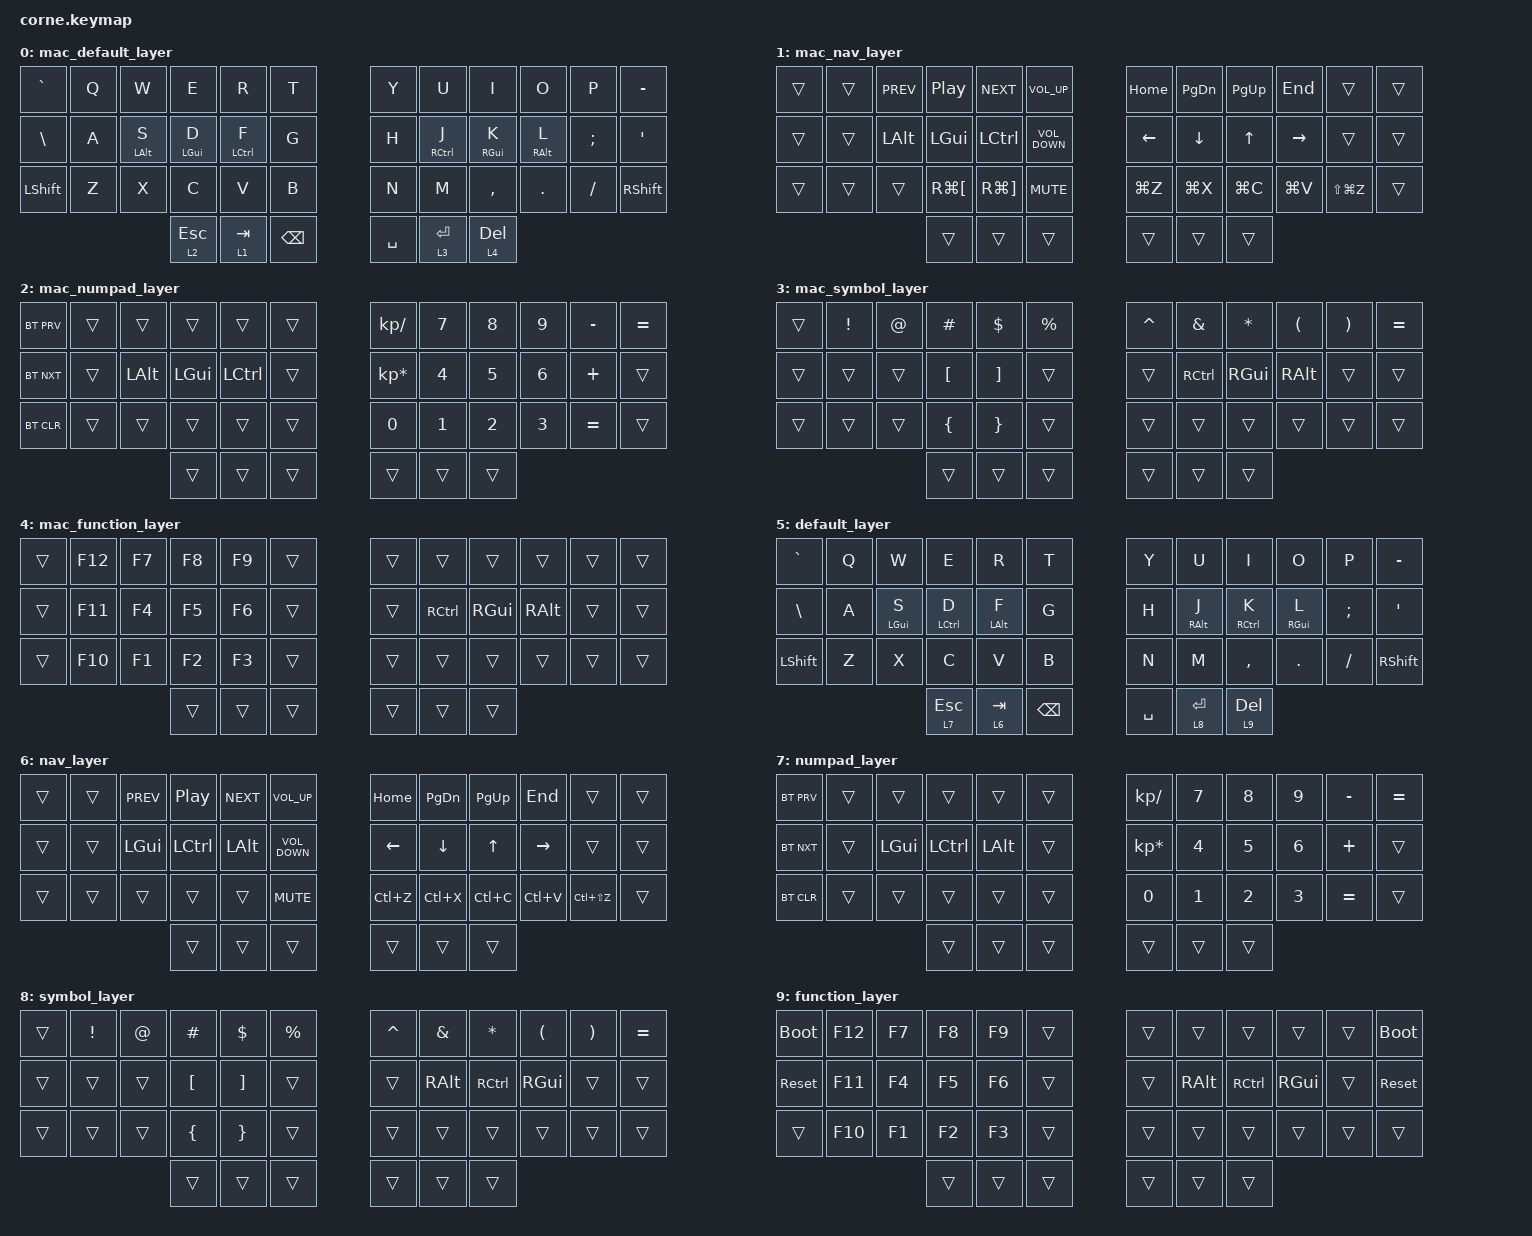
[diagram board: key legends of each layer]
/*
 * Copyright (c) 2020 The ZMK Contributors
 *
 * SPDX-License-Identifier: MIT
 */

#include <behaviors.dtsi>
#include <dt-bindings/zmk/bt.h>
#include <dt-bindings/zmk/keys.h>

/ {
    behaviors {
        hml: homewrow_mods_left {
            compatible = "zmk,behavior-hold-tap";
            label = "HOMEROW_MODS_LEFT_HAND";
            bindings = <&kp>, <&kp>;

            #binding-cells = <2>;
            tapping-term-ms = <280>;
            hold-trigger-key-positions = <10 6 18 39 30 40 41 19 31 7 9 10 19 20 21 22 6 7 8 9 10 11 18 19 20 21 22 23 30 31 32 33 34 35 40 41 37>;
            flavor = "balanced";
            require-prior-idle-ms = <130>;
            quick-tap-ms = <175>;
            hold-trigger-on-release;
        };

        hmr: homewrow_mods_right {
            compatible = "zmk,behavior-hold-tap";
            label = "HOMEROW_MODS_RIGHT_HAND";
            bindings = <&kp>, <&kp>;

            #binding-cells = <2>;
            tapping-term-ms = <280>;
            hold-trigger-key-positions = <0 1 2 3 4 5 12 13 14 15 16 17 24 25 26 27 28 29 36 37 38>;
            quick-tap-ms = <175>;
            require-prior-idle-ms = <130>;
            flavor = "balanced";
            hold-trigger-on-release;
        };
    };

    combos {
        compatible = "zmk,combos";

        to_mac_layer {
            bindings = <&to 0>;
            key-positions = <36 40>;
        };

        to_windows_layer {
            bindings = <&to 5>;
            key-positions = <37 41>;
        };

        Capslock {
            bindings = <&kp CAPSLOCK>;
            key-positions = <24 35>;
            layers = <0 5>;
        };
    };

    keymap {
        compatible = "zmk,keymap";

        mac_default_layer {
            bindings = <
&kp GRAVE  &kp Q  &kp W            &kp E            &kp R                &kp T            &kp Y      &kp U                 &kp I             &kp O             &kp P     &kp MINUS
&kp BSLH   &kp A  &hml LEFT_ALT S  &hml LEFT_GUI D  &hml LEFT_CONTROL F  &kp G            &kp H      &hmr RIGHT_CONTROL J  &hmr RIGHT_GUI K  &hmr RIGHT_ALT L  &kp SEMI  &kp SQT
&kp LSHFT  &kp Z  &kp X            &kp C            &kp V                &kp B            &kp N      &kp M                 &kp COMMA         &kp DOT           &kp FSLH  &kp RSHIFT
                                   &lt 2 ESC        &lt 1 TAB            &kp BACKSPACE    &kp SPACE  &lt 3 ENTER           &lt 4 DELETE
            >;
        };

        mac_nav_layer {
            bindings = <
&trans  &trans  &kp C_PREV    &kp C_PLAY_PAUSE      &kp C_NEXT             &kp C_VOLUME_UP      &kp HOME        &kp PAGE_DOWN   &kp PAGE_UP   &kp END          &trans         &trans
&trans  &trans  &kp LEFT_ALT  &kp LEFT_GUI          &kp LEFT_CONTROL       &kp C_VOLUME_DOWN    &kp LEFT_ARROW  &kp DOWN_ARROW  &kp UP_ARROW  &kp RIGHT_ARROW  &trans         &trans
&trans  &trans  &trans        &kp RG(LEFT_BRACKET)  &kp RG(RIGHT_BRACKET)  &kp C_MUTE           &kp LG(Z)       &kp LG(X)       &kp LG(C)     &kp LG(V)        &kp LS(LG(Z))  &trans
                              &trans                &trans                 &trans               &trans          &trans          &trans
            >;
        };

        mac_numpad_layer {
            bindings = <
&bt BT_PRV  &trans  &trans    &trans    &trans     &trans    &kp KP_DIVIDE    &kp N7  &kp N8  &kp N9  &kp MINUS  &kp EQUAL
&bt BT_NXT  &trans  &kp LALT  &kp LGUI  &kp LCTRL  &trans    &kp KP_MULTIPLY  &kp N4  &kp N5  &kp N6  &kp PLUS   &trans
&bt BT_CLR  &trans  &trans    &trans    &trans     &trans    &kp N0           &kp N1  &kp N2  &kp N3  &kp EQUAL  &trans
                              &trans    &trans     &trans    &trans           &trans  &trans
            >;
        };

        mac_symbol_layer {
            bindings = <
&trans  &kp EXCL  &kp AT  &kp HASH          &kp DLLR           &kp PRCNT    &kp CARET  &kp AMPS   &kp ASTRK  &kp LPAR  &kp RPAR  &kp EQUAL
&trans  &trans    &trans  &kp LEFT_BRACKET  &kp RIGHT_BRACKET  &trans       &trans     &kp RCTRL  &kp RGUI   &kp RALT  &trans    &trans
&trans  &trans    &trans  &kp LEFT_BRACE    &kp RIGHT_BRACE    &trans       &trans     &trans     &trans     &trans    &trans    &trans
                          &trans            &trans             &trans       &trans     &trans     &trans
            >;
        };

        mac_function_layer {
            bindings = <
&trans  &kp F12  &kp F7  &kp F8  &kp F9  &trans    &trans  &trans     &trans    &trans    &trans  &trans
&trans  &kp F11  &kp F4  &kp F5  &kp F6  &trans    &trans  &kp RCTRL  &kp RGUI  &kp RALT  &trans  &trans
&trans  &kp F10  &kp F1  &kp F2  &kp F3  &trans    &trans  &trans     &trans    &trans    &trans  &trans
                         &trans  &trans  &trans    &trans  &trans     &trans
            >;
        };

        default_layer {
            // -----------------------------------------------------------------------------------------
            // |  TAB |  Q  |  W  |  E  |  R  |  T  |   |  Y  |  U   |  I  |  O  |  P  | BKSP |
            // | CTRL |  A  |  S  |  D  |  F  |  G  |   |  H  |  J   |  K  |  L  |  ;  |  '   |
            // | SHFT |  Z  |  X  |  C  |  V  |  B  |   |  N  |  M   |  ,  |  .  |  /  | ESC  |
            //                    | GUI | LWR | SPC |   | ENT | RSE  | ALT |

            bindings = <
&kp GRAVE  &kp Q  &kp W            &kp E                &kp R            &kp T            &kp Y      &kp U             &kp I                 &kp O             &kp P     &kp MINUS
&kp BSLH   &kp A  &hml LEFT_GUI S  &hml LEFT_CONTROL D  &hml LEFT_ALT F  &kp G            &kp H      &hmr RIGHT_ALT J  &hmr RIGHT_CONTROL K  &hmr RIGHT_GUI L  &kp SEMI  &kp SQT
&kp LSHFT  &kp Z  &kp X            &kp C                &kp V            &kp B            &kp N      &kp M             &kp COMMA             &kp DOT           &kp FSLH  &kp RSHIFT
                                   &lt 7 ESC            &lt 6 TAB        &kp BACKSPACE    &kp SPACE  &lt 8 ENTER       &lt 9 DELETE
            >;
        };

        nav_layer {
            bindings = <
&trans  &trans  &kp C_PREV    &kp C_PLAY_PAUSE  &kp C_NEXT    &kp C_VOLUME_UP      &kp HOME        &kp PAGE_DOWN   &kp PAGE_UP   &kp END          &trans         &trans
&trans  &trans  &kp LEFT_GUI  &kp LEFT_CONTROL  &kp LEFT_ALT  &kp C_VOLUME_DOWN    &kp LEFT_ARROW  &kp DOWN_ARROW  &kp UP_ARROW  &kp RIGHT_ARROW  &trans         &trans
&trans  &trans  &trans        &trans            &trans        &kp C_MUTE           &kp LC(Z)       &kp LC(X)       &kp LC(C)     &kp LC(V)        &kp LC(LS(Z))  &trans
                              &trans            &trans        &trans               &trans          &trans          &trans
            >;
        };

        numpad_layer {
            bindings = <
&bt BT_PRV  &trans  &trans        &trans            &trans        &trans    &kp KP_DIVIDE    &kp N7  &kp N8  &kp N9  &kp MINUS  &kp EQUAL
&bt BT_NXT  &trans  &kp LEFT_GUI  &kp LEFT_CONTROL  &kp LEFT_ALT  &trans    &kp KP_MULTIPLY  &kp N4  &kp N5  &kp N6  &kp PLUS   &trans
&bt BT_CLR  &trans  &trans        &trans            &trans        &trans    &kp N0           &kp N1  &kp N2  &kp N3  &kp EQUAL  &trans
                                  &trans            &trans        &trans    &trans           &trans  &trans
            >;
        };

        symbol_layer {
            // -----------------------------------------------------------------------------------------
            // |  TAB |  !  |  @  |  #  |  $  |  %  |   |  ^  |  &  |  *  |  (  |  )  | BKSP |
            // | CTRL |     |     |     |     |     |   |  -  |  =  |  [  |  ]  |  \  |  `   |
            // | SHFT |     |     |     |     |     |   |  _  |  +  |  {  |  }  | "|" |  ~   |
            //                    | GUI |     | SPC |   | ENT |     | ALT |

            bindings = <
&trans  &kp EXCL  &kp AT  &kp HASH          &kp DLLR           &kp PRCNT    &kp CARET  &kp AMPS       &kp ASTRK          &kp LPAR       &kp RPAR  &kp EQUAL
&trans  &trans    &trans  &kp LEFT_BRACKET  &kp RIGHT_BRACKET  &trans       &trans     &kp RIGHT_ALT  &kp RIGHT_CONTROL  &kp RIGHT_GUI  &trans    &trans
&trans  &trans    &trans  &kp LEFT_BRACE    &kp RIGHT_BRACE    &trans       &trans     &trans         &trans             &trans         &trans    &trans
                          &trans            &trans             &trans       &trans     &trans         &trans
            >;
        };

        function_layer {
            bindings = <
&bootloader  &kp F12  &kp F7  &kp F8  &kp F9  &trans    &trans  &trans    &trans     &trans    &trans  &bootloader
&sys_reset   &kp F11  &kp F4  &kp F5  &kp F6  &trans    &trans  &kp RALT  &kp RCTRL  &kp RGUI  &trans  &sys_reset
&trans       &kp F10  &kp F1  &kp F2  &kp F3  &trans    &trans  &trans    &trans     &trans    &trans  &trans
                              &trans  &trans  &trans    &trans  &trans    &trans
            >;
        };
    };
};
